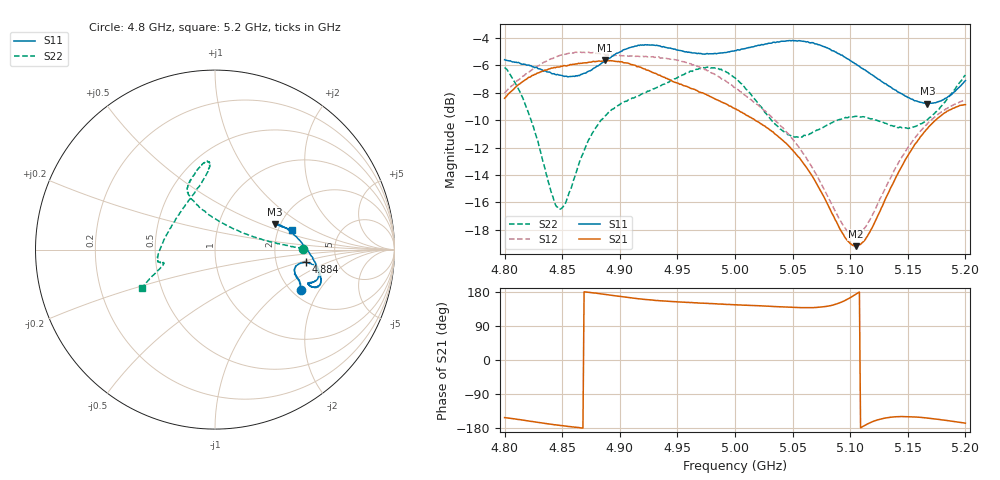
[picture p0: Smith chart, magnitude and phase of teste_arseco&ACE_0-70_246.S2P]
! Network Analyzer HP8722D
! Hewlett-Packard
! Data name: Linha & Wilkinson
! Saver's name: Rodrigo Anjos
! Comments: Teste da utilização de aquisição
! continua pelo VNA HP8722D
! Time and date: 8/5/2025 14:48
!  Frequency  S11  S21  S12  S22
# HZ  S  MA R 50
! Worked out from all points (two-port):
!   401 points, 4.8 GHz to 5.2 GHz, reference 50 ohm
!   highest |S21| = -5.63 dB at 4.887 GHz (marker M1); lowest = -19.2 dB at 5.105 GHz (marker M2)
!   |S21| within 3 dB of the highest: start of sweep to 4.987 GHz
!   lowest |S11| = -8.8 dB at 5.167 GHz (marker M3), VSWR 2.14, Z = 93.6 + j30.9 ohm
!   |S11| at or under -10 dB: nowhere
!   |S22| runs from -16.5 to -6.1 dB; largest |S21 - S12| = 1.1
!   S11 on the Smith chart (normalised r, x): 4.8 GHz: 2.23, -1.38; 4.884 GHz: 2.96, -0.57; 5.2 GHz: 2.36, +0.65
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4.8e9  0.5259 -25.1  0.3803 -152.0  0.3978 7.3  0.4929 0.6
4.818e9  0.5057 -20.9  0.4443 -159.5  0.4653 4.8  0.36 5.2
4.846e9  0.4646 -16.4  0.4946 -171.8  0.5421 0.2  0.152 54.4
4.853e9  0.458 -14.7  0.4996 -174.5  0.5512 -0.9  0.1577 80.4
4.867e9  0.4651 -10.8  0.5104 -179.4  0.5587 -3.0  0.2338 107.5
4.884e9  0.5097 -8.0  0.5193 174.5  0.5516 -3.9  0.3175 114.9
4.887e9  0.5193 -8.2  0.5231 173.4  0.5498 -4.1  0.327 115.2
4.909e9  0.5827 -11.2  0.5067 164.4  0.5428 -3.3  0.3777 114.0
4.934e9  0.5916 -16.8  0.4616 156.5  0.5388 -4.1  0.4196 107.7
4.974e9  0.551 -19.8  0.394 149.6  0.4836 -7.6  0.4904 95.7
5e9  0.5679 -20.9  0.3482 145.7  0.4165 -7.5  0.4518 94.5
5.018e9  0.5908 -20.8  0.3148 143.5  0.3624 -4.6  0.3737 102.5
5.044e9  0.6157 -18.7  0.2613 139.7  0.2881 1.0  0.2835 132.8
5.067e9  0.6072 -14.1  0.1978 138.1  0.2127 8.5  0.285 165.0
5.094e9  0.5414 -4.2  0.1211 154.9  0.1302 34.6  0.3206 -173.0
5.105e9  0.5074 0.9  0.1096 173.7  0.1203 56.0  0.327 -169.6
5.115e9  0.4749 6.2  0.1193 -168.8  0.132 75.0  0.3234 -167.7
5.134e9  0.4202 15.6  0.1745 -151.5  0.191 94.1  0.3047 -166.1
5.152e9  0.3795 21.8  0.2417 -149.7  0.2572 99.0  0.2969 -164.8
5.167e9  0.3635 23.2  0.2943 -153.3  0.3071 99.6  0.3173 -161.8
5.182e9  0.3791 20.9  0.3366 -158.8  0.3446 99.5  0.3672 -157.7
5.2e9  0.4411 14.6  0.3603 -166.6  0.3748 100.0  0.4623 -152.2
